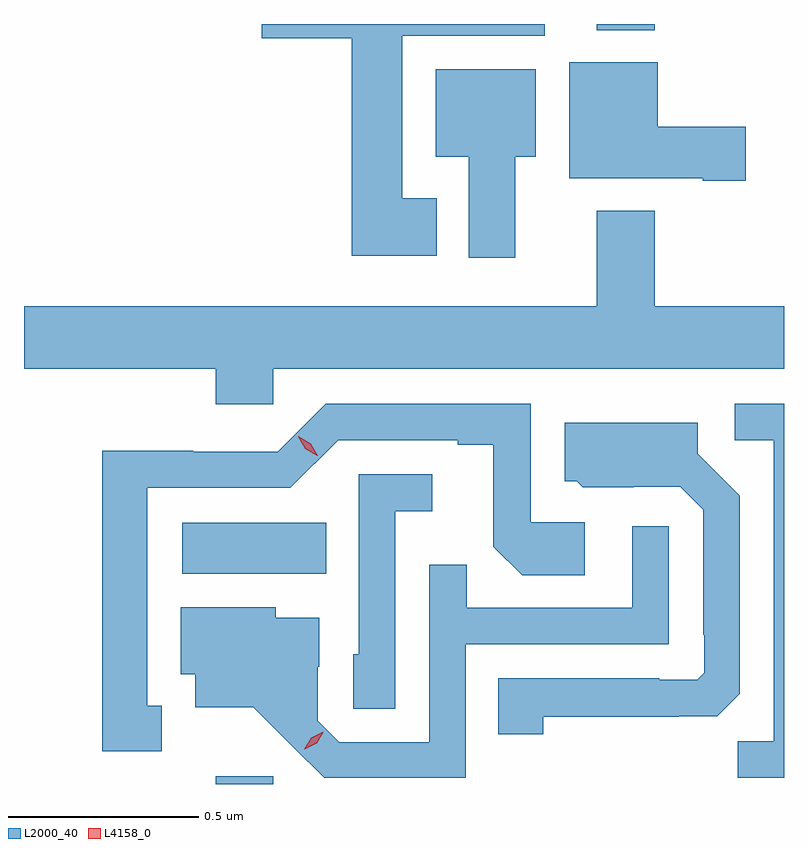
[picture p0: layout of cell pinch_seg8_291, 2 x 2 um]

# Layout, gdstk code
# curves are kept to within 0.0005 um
import gdstk
lib = gdstk.Library(unit=1e-6, precision=1e-09)
def R(c, l, rs):  # rectangles x0, y0, x1, y1
    for r in rs: c.add(gdstk.rectangle(r[:2], r[2:], *l))
def P(c, l, *ps):  # polygons
    for p in ps: c.add(gdstk.Polygon(p, *l))
L2000_40 = (2000, 40)
L4158_0 = (4158, 0)

pinch_seg8_291 = lib.new_cell('pinch_seg8_291')
R(pinch_seg8_291, L2000_40, [(527.519,1148.707,527.67,1148.728), (527.43,1149.26,527.81,1149.394), (528.521,1150.691,528.674,1150.707)])
P(pinch_seg8_291, L2000_40, [(528.1,1150.249),(528.01,1150.249),(528.01,1150.676),(528.385,1150.676),(528.385,1150.707),(527.64,1150.707),(527.64,1150.67),(527.876,1150.67),(527.876,1150.097),(528.1,1150.097)],
  [(528.913,1150.436),(528.682,1150.436),(528.682,1150.606),(528.449,1150.606),(528.449,1150.301),(528.8,1150.301),(528.8,1150.294),(528.913,1150.294)],
  [(528.307,1150.358),(528.361,1150.358),(528.361,1150.588),(528.098,1150.588),(528.098,1150.358),(528.185,1150.358),(528.185,1150.092),(528.307,1150.092)],
  [(527.67,1149.8),(529.014,1149.8),(529.014,1149.964),(528.674,1149.964),(528.674,1150.216),(528.521,1150.216),(528.521,1149.964),(527.014,1149.964),(527.014,1149.8),(527.519,1149.8),(527.519,1149.707),(527.67,1149.707)],
  [(527.377,1148.913),(527.338,1148.913),(527.338,1149.486),(527.715,1149.486),(527.841,1149.612),(528.155,1149.612),(528.155,1149.6),(528.249,1149.6),(528.249,1149.332),(528.325,1149.256),(528.49,1149.256),(528.49,1149.396),(528.348,1149.396),(528.348,1149.708),(527.808,1149.708),(527.682,1149.582),(527.46,1149.582),(527.46,1149.584),(527.22,1149.584),(527.22,1148.793),(527.377,1148.793)],
  [(529.014,1149.708),(528.885,1149.708),(528.885,1149.612),(528.987,1149.612),(528.987,1148.819),(528.892,1148.819),(528.892,1148.724),(529.014,1148.724)],
  [(528.381,1148.884),(528.737,1148.884),(528.737,1148.885),(528.838,1148.885),(528.897,1148.944),(528.897,1149.466),(528.787,1149.576),(528.787,1149.658),(528.437,1149.658),(528.437,1149.504),(528.468,1149.504),(528.484,1149.488),(528.618,1149.488),(528.618,1149.489),(528.741,1149.489),(528.801,1149.429),(528.801,1149.1),(528.804,1149.1),(528.804,1149),(528.786,1148.982),(528.686,1148.982),(528.686,1148.985),(528.262,1148.985),(528.262,1148.838),(528.381,1148.838)],
  [(527.991,1149.425),(528.088,1149.425),(528.088,1149.522),(527.895,1149.522),(527.895,1149.048),(527.88,1149.048),(527.88,1148.905),(527.991,1148.905)],
  [(528.177,1149.075),(528.711,1149.075),(528.711,1149.385),(528.615,1149.385),(528.615,1149.171),(528.179,1149.171),(528.179,1149.284),(528.081,1149.284),(528.081,1148.817),(527.844,1148.817),(527.787,1148.874),(527.787,1149.016),(527.791,1149.016),(527.791,1149.145),(527.676,1149.145),(527.676,1149.172),(527.426,1149.172),(527.426,1148.996),(527.465,1148.996),(527.465,1148.909),(527.617,1148.909),(527.804,1148.724),(528.177,1148.724)])
P(pinch_seg8_291, L4158_0, [(527.752,1148.799),(527.752,1148.799),(527.77,1148.829),(527.801,1148.844),(527.801,1148.844),(527.801,1148.843),(527.784,1148.814),(527.753,1148.799)],
  [(527.786,1149.571),(527.754,1149.589),(527.736,1149.621),(527.736,1149.622),(527.736,1149.622),(527.768,1149.603),(527.787,1149.571),(527.787,1149.571)])

lib.write_gds('pinch_seg8_291.gds')
